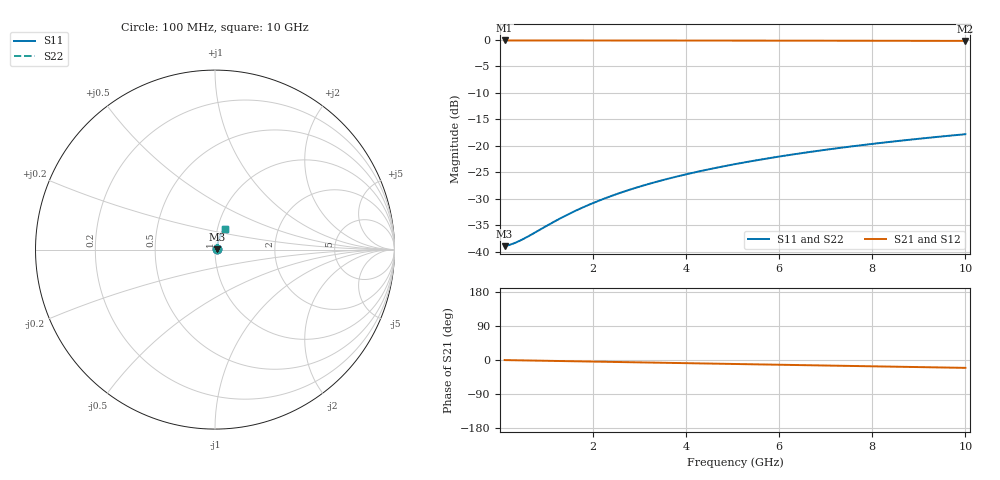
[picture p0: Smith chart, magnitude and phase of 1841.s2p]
# Hz S RI R 50.00
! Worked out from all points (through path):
!   100 points, 100 MHz to 10 GHz, reference 50 ohm
!   highest |S21| = -0.10 dB at 100 MHz (marker M1); lowest = -0.2 dB at 10 GHz (marker M2)
!   group delay of S21, straight-line fit = 5.77 ps
!   lowest |S11| = -38.9 dB at 100 MHz (marker M3), VSWR 1.02, Z = 51.1 + j0.131 ohm
!   |S11| at or under -10 dB: start of sweep to end of sweep
!   |S22| runs from -38.9 to -17.8 dB; largest |S21 - S12| = 0
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1e8  0.0112 0.00128  0.9888 -0.0036  0.9888 -0.0036  0.0112 0.00128
2e8  0.0113 0.00256  0.9887 -0.00721  0.9887 -0.00721  0.0113 0.00256
3e8  0.0114 0.00384  0.9886 -0.0108  0.9886 -0.0108  0.0114 0.00384
5e8  0.0116 0.00639  0.9884 -0.018  0.9884 -0.018  0.0116 0.00639
1.1e9  0.0122 0.014  0.9875 -0.0396  0.9875 -0.0396  0.0122 0.014
1.3e9  0.0124 0.0166  0.9871 -0.0468  0.9871 -0.0468  0.0124 0.0166
1.5e9  0.0127 0.0191  0.9866 -0.054  0.9866 -0.054  0.0127 0.0191
1.8e9  0.0132 0.0229  0.9859 -0.0647  0.9859 -0.0647  0.0132 0.0229
2.1e9  0.0138 0.0267  0.9849 -0.0755  0.9849 -0.0755  0.0138 0.0267
2.5e9  0.0147 0.0317  0.9835 -0.0898  0.9835 -0.0898  0.0147 0.0317
2.9e9  0.0158 0.0367  0.9819 -0.1041  0.9819 -0.1041  0.0158 0.0367
3.4e9  0.0173 0.0429  0.9795 -0.1219  0.9795 -0.1219  0.0173 0.0429
3.8e9  0.0187 0.0478  0.9773 -0.1361  0.9773 -0.1361  0.0187 0.0478
4.2e9  0.0202 0.0527  0.975 -0.1502  0.975 -0.1502  0.0202 0.0527
4.6e9  0.0218 0.0575  0.9723 -0.1643  0.9723 -0.1643  0.0218 0.0575
5.1e9  0.0241 0.0635  0.9687 -0.1818  0.9687 -0.1818  0.0241 0.0635
5.9e9  0.0281 0.0728  0.9623 -0.2097  0.9623 -0.2097  0.0281 0.0728
6.7e9  0.0327 0.0818  0.9549 -0.2373  0.9549 -0.2373  0.0327 0.0818
7.5e9  0.0378 0.0906  0.9467 -0.2645  0.9467 -0.2645  0.0378 0.0906
8.4e9  0.0441 0.1  0.9365 -0.2947  0.9365 -0.2947  0.0441 0.1
9.2e9  0.0502 0.1081  0.9265 -0.3212  0.9265 -0.3212  0.0502 0.1081
1e10  0.0567 0.1157  0.9157 -0.3472  0.9157 -0.3472  0.0567 0.1157
